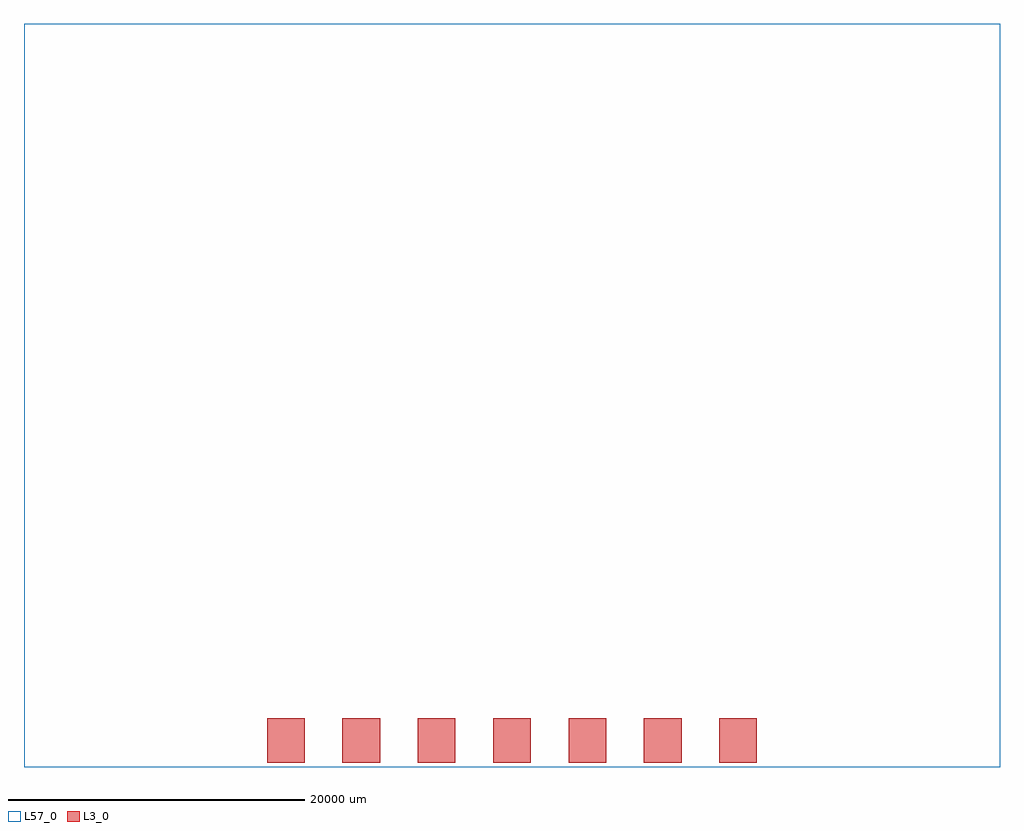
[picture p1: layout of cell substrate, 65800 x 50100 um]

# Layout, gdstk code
import gdstk
lib = gdstk.Library(unit=1e-6, precision=1e-09)
def R(c, l, rs):  # rectangles x0, y0, x1, y1
    for r in rs: c.add(gdstk.rectangle(r[:2], r[2:], *l))
def A(c, l, x, y, w, h, nx, ny, dx, dy):  # array of equal rectangles
    R(c, l, [(x+i*dx, y+j*dy, x+i*dx+w, y+j*dy+h) for i in range(nx) for j in range(ny)])
L3_0 = (3, 0)
L57_0 = (57, 0)

substrate = lib.new_cell('substrate')
A(substrate, L3_0, 16090, -500, 2540, 3000, 7, 1, 5080, 0)
R(substrate, L57_0, [(-300,-800,65500,49300)])

lib.write_gds('substrate.gds')
